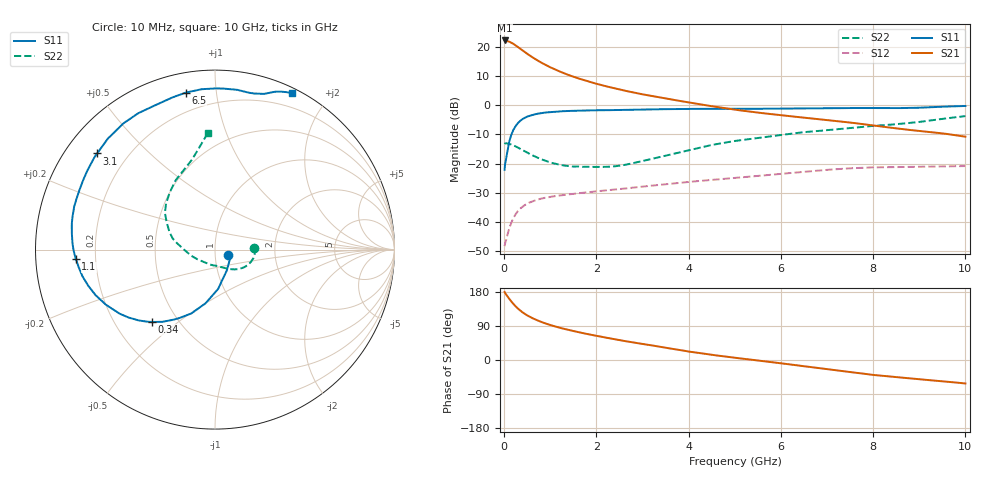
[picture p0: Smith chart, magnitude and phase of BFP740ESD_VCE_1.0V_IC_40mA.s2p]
! Infineon Technologies  Discrete & RF Semiconductors
! BFP740ESD
! VCE =  1.0 V,  IC =  40 mA
! Common Emitter S-Parameters:  Jan 2016
# GHz  S  MA  R  50
!  f  S11  S21  S12  S22
! GHz  MAG  ANG  MAG  ANG  MAG  ANG  MAG  ANG
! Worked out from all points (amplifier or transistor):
!   233 points, 10 MHz to 10 GHz, reference 50 ohm
!   highest |S21| = 22.3 dB at 10 MHz (marker M1)
!   |S21| within 3 dB of that: start of sweep to 362.2 MHz
!   unconditionally stable (mu >= 1): start of sweep to 9.965 GHz
!   at 200 MHz: K = 3.13, MAG = 22.1 dB, |S12| = -38.8 dB
!   at 1.74 GHz: K = 1.94, MAG = 13.7 dB, |S12| = -30.0 dB
!   at 10 GHz: K = 0.97, MSG = 5.0 dB, |S12| = -20.9 dB
!   S11 on the Smith chart (normalised r, x): 10 MHz: 1.15, -0.07; 340 MHz: 0.36, -0.41; 1.1 GHz: 0.13, -0.03; 3.1 GHz: 0.09, +0.35; 6.5 GHz: 0.10, +0.83; 10 GHz: 0.05, +1.61
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0.01  0.0782 -22.6  13.02 179.4  0.0038 21.3  0.2163 2.7
0.025  0.1018 -37.3  12.88 175.9  0.0044 19.4  0.2217 -2.3
0.09  0.201 -82.4  12.58 164.7  0.0068 41.8  0.2202 -10.7
0.15  0.3038 -100.0  12.01 155.1  0.0094 47.9  0.213 -17.8
0.2  0.3792 -110.3  11.38 147.8  0.0115 49.3  0.2054 -23.2
0.24  0.4292 -117.4  10.81 142.7  0.0131 48.8  0.1985 -26.9
0.3  0.4972 -126.0  10.02 135.5  0.0153 47.6  0.1874 -32.2
0.34  0.5336 -130.9  9.495 131.5  0.0165 46.4  0.18 -35.4
0.45  0.6123 -141.8  8.197 121.5  0.0194 43.1  0.1614 -43.0
0.6  0.681 -153.2  6.783 111.0  0.0222 39.2  0.1399 -51.4
0.8  0.7344 -164.1  5.441 100.5  0.0249 35.6  0.1188 -60.7
1.1  0.7775 -176.1  4.139 88.7  0.0275 32.7  0.0995 -73.5
1.3  0.7944 177.7  3.552 82.1  0.0288 31.7  0.0923 -82.0
1.68  0.8135 168.0  2.789 71.7  0.0313 31.1  0.0878 -97.4
2.36  0.8282 153.6  1.987 55.6  0.0355 31.1  0.089 -124.4
3.1  0.8474 140.8  1.496 40.4  0.0409 31.1  0.1151 -153.8
3.4  0.8553 135.7  1.354 34.4  0.0432 30.8  0.1309 -163.0
5.1  0.8699 113.7  0.822 4.5  0.0575 25.5  0.2496 163.8
6.5  0.8898 100.5  0.614 -16.5  0.072 18.0  0.3459 143.8
6.8  0.8928 97.0  0.579 -21.0  0.0754 15.5  0.3623 139.4
8.4  0.8943 77.9  0.411 -44.2  0.0866 -0.6  0.467 113.4
10  0.974 63.7  0.289 -62.0  0.0904 -13.1  0.6532 93.3
